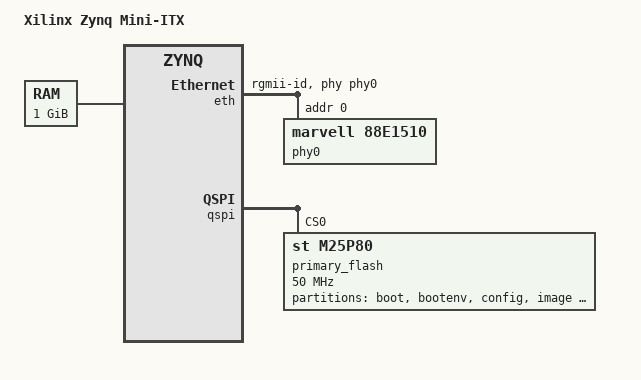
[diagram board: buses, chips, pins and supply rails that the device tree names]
/include/ "zynq.dtsi"

/ {
	model = "Xilinx Zynq Mini-ITX";
	memory {
		device_type = "memory";
		reg = <0x00000000 0x40000000>;
	};

	chosen {
		bootargs = "console=ttyPS0,115200 root=/dev/mmcblk0p2 rw earlyprintk rootfstype=ext4 rootwait";
		linux,stdout-path = "/amba@0/uart@E0001000";
	};
};

&eth {
	phy-handle = <&phy0>;
	phy-mode = "rgmii-id";

	phy0: phy@0 {
		compatible = "marvell,88e1510";
		device_type = "ethernet-phy";
		reg = <0x0>;
		marvell,reg-init=<3 16 0xff00 0x1e 3 17 0xfff0 0x0a>;
	};
};

&usb0 {
	xlnx,phy-reset-gpio = <&gpio0 7 0>;
};

&qspi {
	primary_flash: ps7-qspi@0 {
		#address-cells = <1>;
		#size-cells = <1>;
		compatible = "st,m25p80";
		reg = <0x0>;
		spi-max-frequency = <50000000>;
		partition@0x00000000 {
			label = "boot";
			reg = <0x00000000 0x00500000>;
		};
		partition@0x00500000 {
			label = "bootenv";
			reg = <0x00500000 0x00020000>;
		};
		partition@0x00520000 {
			label = "config";
			reg = <0x00520000 0x00020000>;
		};
		partition@0x00540000 {
			label = "image";
			reg = <0x00540000 0x00a80000>;
		};
		partition@0x00fc0000 {
			label = "spare";
			reg = <0x00fc0000 0x00000000>;
		};
	};
};
